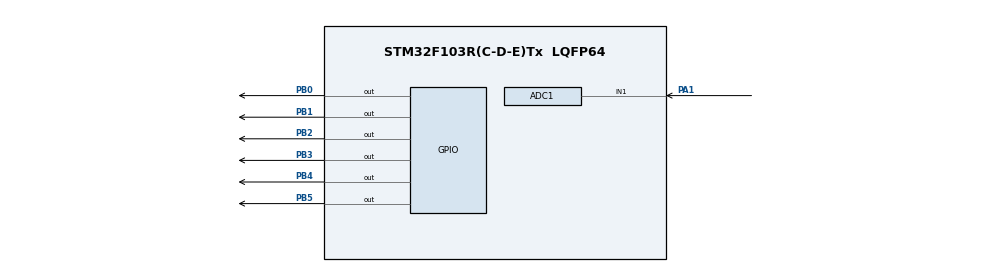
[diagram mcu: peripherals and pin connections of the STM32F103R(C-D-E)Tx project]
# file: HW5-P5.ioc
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ADC1.Channel-0\#ChannelRegularConversion=ADC_CHANNEL_1
ADC1.NbrOfConversionFlag=1
ADC1.Rank-0\#ChannelRegularConversion=1
ADC1.SamplingTime-0\#ChannelRegularConversion=ADC_SAMPLETIME_239CYCLES_5
ADC1.master=1
Mcu.Family=STM32F1
Mcu.Name=STM32F103R(C-D-E)Tx
Mcu.Package=LQFP64
NVIC.PriorityGroup=NVIC_PRIORITYGROUP_4
PA1.Signal=ADCx_IN1
PA13.Mode=Serial_Wire
PA13.Signal=SYS_JTMS-SWDIO
PA14.Mode=Serial_Wire
PA14.Signal=SYS_JTCK-SWCLK
PB0.Signal=GPIO_Output
PB1.Signal=GPIO_Output
PB2.Signal=GPIO_Output
PB3.Signal=GPIO_Output
PB4.Signal=GPIO_Output
PB5.Signal=GPIO_Output
PD0-OSC_IN.Mode=HSE-External-Oscillator
PD0-OSC_IN.Signal=RCC_OSC_IN
PD1-OSC_OUT.Mode=HSE-External-Oscillator
PD1-OSC_OUT.Signal=RCC_OSC_OUT
ProjectManager.HeapSize=0x200
ProjectManager.StackSize=0x400
ProjectManager.TargetToolchain=MDK-ARM V5.32
RCC.APB1Freq_Value=8000000
RCC.APB2Freq_Value=8000000
SH.ADCx_IN1.0=ADC1_IN1,IN1
board=custom

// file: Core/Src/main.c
/* USER CODE BEGIN Header */
/**
  ******************************************************************************
  * @file           : main.c
  * @brief          : Main program body
  ******************************************************************************
  * @attention
  *
  * Copyright (c) 2026 STMicroelectronics.
  * All rights reserved.
  *
  * This software is licensed under terms that can be found in the LICENSE file
  * in the root directory of this software component.
  * If no LICENSE file comes with this software, it is provided AS-IS.
  *
  ******************************************************************************
  */
/* USER CODE END Header */
#include "main.h"

/* USER CODE BEGIN Includes */
#include "lcd.h"
#include <stdio.h> // Required for sprintf
/* USER CODE END Includes */

ADC_HandleTypeDef hadc1;

/* USER CODE BEGIN PV */
Lcd_HandleTypeDef lcd;
/* USER CODE END PV */

void SystemClock_Config(void);
static void MX_GPIO_Init(void);
static void MX_ADC1_Init(void);

int main(void)
{

  /* MCU Configuration--------------------------------------------------------*/

  /* Reset of all peripherals, Initializes the Flash interface and the Systick. */
  HAL_Init();

  /* Configure the system clock */
  SystemClock_Config();

  /* Initialize all configured peripherals */
  MX_GPIO_Init();
  MX_ADC1_Init();
  /* USER CODE BEGIN 2 */
	Lcd_PortType ports[] = { GPIOB, GPIOB, GPIOB, GPIOB };
  Lcd_PinType pins[] = { GPIO_PIN_0, GPIO_PIN_1, GPIO_PIN_2, GPIO_PIN_3 };
  lcd = Lcd_create(ports, pins, GPIOB, GPIO_PIN_4, GPIOB, GPIO_PIN_5, LCD_4_BIT_MODE);

  Lcd_clear(&lcd);
  /* USER CODE END 2 */

  /* Infinite loop */
  /* USER CODE BEGIN WHILE */
  while (1)
  {
			// 1. Start ADC, wait for it to finish
      HAL_ADC_Start(&hadc1);
      if (HAL_ADC_PollForConversion(&hadc1, 10) == HAL_OK)
      {
          // Cast immediately to signed 32-bit integer
          int32_t raw_read = (int32_t)HAL_ADC_GetValue(&hadc1);

          // --- PROTEUS TOLERANCE CLAMP ---
          // Simulation noise causes 100% to read ~4093. This forces it to the true limits.
          if (raw_read > 4090)
          {
              raw_read = 4095;
          }

          // 2. Perform Mathematical Conversions
          // Map [0 to 4095] -> [-4095 to +4095]
          int32_t real_adc_value = (raw_read * 2) - 4095;

          // Map to Voltage using 3.3!
          float voltage = (real_adc_value / 4095.0) * 3.3;

          // 3. Format the strings
          char buffer1[20];
          char buffer2[20];
          sprintf(buffer1, "Volt: %5.2f V   ", voltage);
          sprintf(buffer2, "Digi: %5ld     ", (long)real_adc_value);

          // 4. Update the LCD Display
          Lcd_cursor(&lcd, 0, 0);
          Lcd_string(&lcd, buffer1);

          Lcd_cursor(&lcd, 1, 0);
          Lcd_string(&lcd, buffer2);
      }
      HAL_ADC_Stop(&hadc1);

      // 5. Wait before next reading
      HAL_Delay(500);
    /* USER CODE END WHILE */

  }
}

void SystemClock_Config(void)
{
  RCC_OscInitTypeDef RCC_OscInitStruct = {0};
  RCC_ClkInitTypeDef RCC_ClkInitStruct = {0};
  RCC_PeriphCLKInitTypeDef PeriphClkInit = {0};

  /** Initializes the RCC Oscillators according to the specified parameters
  * in the RCC_OscInitTypeDef structure.
  */
  RCC_OscInitStruct.OscillatorType = RCC_OSCILLATORTYPE_HSI;
  RCC_OscInitStruct.HSIState = RCC_HSI_ON;
  RCC_OscInitStruct.HSICalibrationValue = RCC_HSICALIBRATION_DEFAULT;
  RCC_OscInitStruct.PLL.PLLState = RCC_PLL_NONE;
  if (HAL_RCC_OscConfig(&RCC_OscInitStruct) != HAL_OK)
  {
    Error_Handler();
  }

  /** Initializes the CPU, AHB and APB buses clocks
  */
  RCC_ClkInitStruct.ClockType = RCC_CLOCKTYPE_HCLK|RCC_CLOCKTYPE_SYSCLK
                              |RCC_CLOCKTYPE_PCLK1|RCC_CLOCKTYPE_PCLK2;
  RCC_ClkInitStruct.SYSCLKSource = RCC_SYSCLKSOURCE_HSI;
  RCC_ClkInitStruct.AHBCLKDivider = RCC_SYSCLK_DIV1;
  RCC_ClkInitStruct.APB1CLKDivider = RCC_HCLK_DIV1;
  RCC_ClkInitStruct.APB2CLKDivider = RCC_HCLK_DIV1;

  if (HAL_RCC_ClockConfig(&RCC_ClkInitStruct, FLASH_LATENCY_0) != HAL_OK)
  {
    Error_Handler();
  }
  PeriphClkInit.PeriphClockSelection = RCC_PERIPHCLK_ADC;
  PeriphClkInit.AdcClockSelection = RCC_ADCPCLK2_DIV2;
  if (HAL_RCCEx_PeriphCLKConfig(&PeriphClkInit) != HAL_OK)
  {
    Error_Handler();
  }
}

static void MX_ADC1_Init(void)
{

  ADC_ChannelConfTypeDef sConfig = {0};

  /** Common config
  */
  hadc1.Instance = ADC1;
  hadc1.Init.ScanConvMode = ADC_SCAN_DISABLE;
  hadc1.Init.ContinuousConvMode = DISABLE;
  hadc1.Init.DiscontinuousConvMode = DISABLE;
  hadc1.Init.ExternalTrigConv = ADC_SOFTWARE_START;
  hadc1.Init.DataAlign = ADC_DATAALIGN_RIGHT;
  hadc1.Init.NbrOfConversion = 1;
  if (HAL_ADC_Init(&hadc1) != HAL_OK)
  {
    Error_Handler();
  }

  /** Configure Regular Channel
  */
  sConfig.Channel = ADC_CHANNEL_1;
  sConfig.Rank = ADC_REGULAR_RANK_1;
  sConfig.SamplingTime = ADC_SAMPLETIME_239CYCLES_5;
  if (HAL_ADC_ConfigChannel(&hadc1, &sConfig) != HAL_OK)
  {
    Error_Handler();
  }

}

static void MX_GPIO_Init(void)
{
  GPIO_InitTypeDef GPIO_InitStruct = {0};

  /* GPIO Ports Clock Enable */
  __HAL_RCC_GPIOD_CLK_ENABLE();
  __HAL_RCC_GPIOA_CLK_ENABLE();
  __HAL_RCC_GPIOB_CLK_ENABLE();

  /*Configure GPIO pin Output Level */
  HAL_GPIO_WritePin(GPIOB, GPIO_PIN_0|GPIO_PIN_1|GPIO_PIN_2|GPIO_PIN_3
                          |GPIO_PIN_4|GPIO_PIN_5, GPIO_PIN_RESET);

  /*Configure GPIO pins : PB0 PB1 PB2 PB3
                           PB4 PB5 */
  GPIO_InitStruct.Pin = GPIO_PIN_0|GPIO_PIN_1|GPIO_PIN_2|GPIO_PIN_3
                          |GPIO_PIN_4|GPIO_PIN_5;
  GPIO_InitStruct.Mode = GPIO_MODE_OUTPUT_PP;
  GPIO_InitStruct.Pull = GPIO_NOPULL;
  GPIO_InitStruct.Speed = GPIO_SPEED_FREQ_LOW;
  HAL_GPIO_Init(GPIOB, &GPIO_InitStruct);

}

void Error_Handler(void)
{
  __disable_irq();
  while (1)
  {
  }
}
